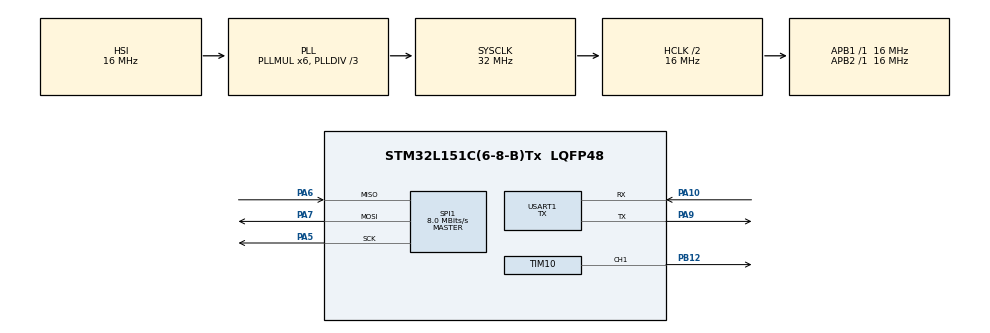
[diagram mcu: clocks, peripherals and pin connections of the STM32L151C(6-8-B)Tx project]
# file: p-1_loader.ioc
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FATFS._FS_LOCK=0
FATFS._FS_READONLY=1
FATFS._USE_BUFF_WO_ALIGNMENT=2
FATFS._USE_ERASE=0
FATFS._USE_FASTSEEK=0
FATFS._USE_MKFS=0
FATFS._USE_STRFUNC=0
Mcu.Family=STM32L1
Mcu.Name=STM32L151C(6-8-B)Tx
Mcu.Package=LQFP48
NVIC.PriorityGroup=NVIC_PRIORITYGROUP_4
PA10.Mode=Asynchronous
PA10.Signal=USART1_RX
PA5.Mode=Full_Duplex_Master
PA5.Signal=SPI1_SCK
PA6.Mode=Full_Duplex_Master
PA6.Signal=SPI1_MISO
PA7.Mode=Full_Duplex_Master
PA7.Signal=SPI1_MOSI
PA9.Mode=Asynchronous
PA9.Signal=USART1_TX
PB12.Signal=S_TIM10_CH1
PH0-OSC_IN.Mode=HSE-External-Oscillator
PH0-OSC_IN.Signal=RCC_OSC_IN
PH1-OSC_OUT.Mode=HSE-External-Oscillator
PH1-OSC_OUT.Signal=RCC_OSC_OUT
ProjectManager.HeapSize=0xc00
ProjectManager.StackSize=0x400
ProjectManager.TargetToolchain=MDK-ARM V5
RCC.ADCEnable=false
RCC.AHBCLKDivider=RCC_SYSCLK_DIV2
RCC.AHBFreq_Value=16000000
RCC.APB1Freq_Value=16000000
RCC.APB1TimFreq_Value=16000000
RCC.APB2Freq_Value=16000000
RCC.APB2TimFreq_Value=16000000
RCC.EnableCSSLSE=false
RCC.EnableHSE=true
RCC.EnableHSELCDDevisor=false
RCC.EnableHSERTCDevisor=false
RCC.EnableLSE=false
RCC.EnableLSERTC=false
RCC.EnbaleCSS=false
RCC.HCLKFreq_Value=16000000
RCC.HSEState=RCC_HSE_ON
RCC.HSE_VALUE=8000000
RCC.HSIState=RCC_HSI_ON
RCC.HSI_VALUE=16000000
RCC.IWDGEnable=false
RCC.LCDEnable=false
RCC.LSE_VALUE=32768
RCC.LSIState=RCC_LSI_OFF
RCC.MCOEnable=false
RCC.MSI_VALUE=2097000
RCC.OscillatorTypeHSE=RCC_OSCILLATORTYPE_HSE
RCC.OscillatorTypeHSI=RCC_OSCILLATORTYPE_HSI
RCC.OscillatorTypeMSI=RCC_OSCILLATORTYPE_MSI
RCC.PLLDIV=RCC_PLL_DIV3
RCC.PLLMUL=RCC_PLL_MUL12
RCC.PLLSource=RCC_PLLSOURCE_HSE
RCC.PLLSourceVirtual=RCC_PLLSOURCE_HSE
RCC.PLLState=RCC_PLL_ON
RCC.RTCEnable=false
RCC.SYSCLKFreq_VALUE=32000000
RCC.SYSCLKSource=RCC_SYSCLKSOURCE_PLLCLK
RCC.USBEnable=false
RCC.USBOutput=48000000
RCC.VCOOutputFreq_Value=96000000
SH.S_TIM10_CH1.0=TIM10_CH1,PWM Generation1 CH1
SPI1.CRCPolynomial=10
SPI1.CalculateBaudRate=8.0 MBits/s
SPI1.Direction=SPI_DIRECTION_2LINES
SPI1.Mode=SPI_MODE_MASTER
SPI1.VirtualType=VM_MASTER
TIM10.Channel=TIM_CHANNEL_1
USART1.HwFlowCtl-Asynchronous=UART_HWCONTROL_NONE
USART1.Mode=MODE_TX
USART1.VirtualMode=VM_ASYNC
VP_FATFS_VS_Generic.Mode=User_defined
board=p-1_loader

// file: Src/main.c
/**
  ******************************************************************************
  * File Name          : main.c
  * Description        : Main program body
  ******************************************************************************
  *
  * Copyright (c) 2017 STMicroelectronics International N.V.
  * All rights reserved.
  *
  * Redistribution and use in source and binary forms, with or without
  * modification, are permitted, provided that the following conditions are met:
  *
  * 1. Redistribution of source code must retain the above copyright notice,
  *    this list of conditions and the following disclaimer.
  * 2. Redistributions in binary form must reproduce the above copyright notice,
  *    this list of conditions and the following disclaimer in the documentation
  *    and/or other materials provided with the distribution.
  * 3. Neither the name of STMicroelectronics nor the names of other
  *    contributors to this software may be used to endorse or promote products
  *    derived from this software without specific written permission.
  * 4. This software, including modifications and/or derivative works of this
  *    software, must execute solely and exclusively on microcontroller or
  *    microprocessor devices manufactured by or for STMicroelectronics.
  * 5. Redistribution and use of this software other than as permitted under
  *    this license is void and will automatically terminate your rights under
  *    this license.
  *
  * THIS SOFTWARE IS PROVIDED BY STMICROELECTRONICS AND CONTRIBUTORS "AS IS"
  * AND ANY EXPRESS, IMPLIED OR STATUTORY WARRANTIES, INCLUDING, BUT NOT
  * LIMITED TO, THE IMPLIED WARRANTIES OF MERCHANTABILITY, FITNESS FOR A
  * PARTICULAR PURPOSE AND NON-INFRINGEMENT OF THIRD PARTY INTELLECTUAL PROPERTY
  * RIGHTS ARE DISCLAIMED TO THE FULLEST EXTENT PERMITTED BY LAW. IN NO EVENT
  * SHALL STMICROELECTRONICS OR CONTRIBUTORS BE LIABLE FOR ANY DIRECT, INDIRECT,
  * INCIDENTAL, SPECIAL, EXEMPLARY, OR CONSEQUENTIAL DAMAGES (INCLUDING, BUT NOT
  * LIMITED TO, PROCUREMENT OF SUBSTITUTE GOODS OR SERVICES; LOSS OF USE, DATA,
  * OR PROFITS; OR BUSINESS INTERRUPTION) HOWEVER CAUSED AND ON ANY THEORY OF
  * LIABILITY, WHETHER IN CONTRACT, STRICT LIABILITY, OR TORT (INCLUDING
  * NEGLIGENCE OR OTHERWISE) ARISING IN ANY WAY OUT OF THE USE OF THIS SOFTWARE,
  * EVEN IF ADVISED OF THE POSSIBILITY OF SUCH DAMAGE.
  *
  ******************************************************************************
  */
#include "main.h"
#include "stm32l1xx_hal.h"
#include "fatfs.h"

/* USER CODE BEGIN Includes */
#include "stm_eeprom.h"
#include "stm32l1xx_nucleo.h"
#ifdef defined(STM32L151xB)
#include "stm32_adafruit_sd.h"
#else
#include "v1000_sd.h"

#endif

/* USER CODE END Includes */

//SPI_HandleTypeDef hspi1;

TIM_HandleTypeDef htim10;

UART_HandleTypeDef huart1;

/* USER CODE BEGIN PV */
/* Private variables ---------------------------------------------------------*/
typedef  void (*pFunction)(void);

/* USER CODE END PV */

void SystemClock_Config(void);
void Error_Handler(void);
static void MX_GPIO_Init(void);
static void MX_USART1_UART_Init(void);
//static void MX_SPI1_Init(void);
static void MX_TIM10_Init(void);

void HAL_TIM_MspPostInit(TIM_HandleTypeDef *htim);

/* USER CODE BEGIN PFP */
/* Private function prototypes -----------------------------------------------*/
/* Private function prototypes
-----------------------------------------------*/
#ifdef __GNUC__
/* With GCC/RAISONANCE, small printf (option LD Linker->Libraries->Small printf
   set to 'Yes') calls __io_putchar() */
#define PUTCHAR_PROTOTYPE int __io_putchar(int ch)
#else
#define PUTCHAR_PROTOTYPE int fputc(int ch, FILE *f)
#endif /* __GNUC__ */

/**
  * @brief  Retargets the C library printf function to the USART.
  * @param  None
  * @retval None
  */
PUTCHAR_PROTOTYPE
{
  /* Place your implementation of fputc here */
  /* e.g. write a character to the EVAL_COM1 and Loop until the end of transmission */
  HAL_UART_Transmit(&huart1, (uint8_t *)&ch, 1, 0xFFFF);

  return ch;
}

/* USER CODE END PFP */

/* USER CODE BEGIN 0 */

uint8_t sound_toggle_simple(uint8_t cnt ,uint16_t sound_on_timer, uint16_t sound_off_timer)
{
   uint8_t i = 0;

   for(i = 0;i< cnt ; i++)
   {
       HAL_TIM_PWM_Start(&htim10, TIM_CHANNEL_1);
       HAL_Delay(sound_on_timer);
       HAL_TIM_PWM_Stop(&htim10, TIM_CHANNEL_1);
       HAL_Delay(sound_off_timer);
    }

		return 0;
}

void sd_power_mode(uint8_t mode)
{

	GPIO_InitTypeDef GPIO_InitStruct;

    if(mode == 1)
    {
        GPIO_InitStruct.Pin = SD_POWER_Pin;
        GPIO_InitStruct.Mode = GPIO_MODE_OUTPUT_PP;
        GPIO_InitStruct.Pull = GPIO_NOPULL;
        HAL_GPIO_Init(SD_POWER_GPIO_Port, &GPIO_InitStruct);
        HAL_GPIO_WritePin(SD_POWER_GPIO_Port, SD_POWER_Pin, GPIO_PIN_RESET);

    }
    else
    {
        /*Configure GPIO pin : GPS_POWER_Pin */
        GPIO_InitStruct.Pin = SD_POWER_Pin;
        GPIO_InitStruct.Mode = GPIO_MODE_INPUT;
        GPIO_InitStruct.Pull = GPIO_PULLUP;
        HAL_GPIO_Init(SD_POWER_GPIO_Port, &GPIO_InitStruct);
        //HAL_GPIO_WritePin(SD_POWER_GPIO_Port, SD_POWER_Pin, GPIO_PIN_SET);
    }
}

/* USER CODE END 0 */
uint8_t get_key(void)
{
    uint8_t count_time = 0;

    while((BSP_PB_GetState(BUTTON_USER) == GPIO_PIN_SET)&&(BSP_PB_GetState(BUTTON_WAKEUP) == GPIO_PIN_SET))
    {
       HAL_Delay(10);
       count_time++;
       if(count_time >= 200)
       {
           break;
       }
    }

    if(count_time >= 200)
        return  1;
    else
        return  0;

}

int main(void)
{

  /* USER CODE BEGIN 1 */
  pFunction JumpToApplication;
  uint32_t JumpAddress;

  /* USER CODE END 1 */

  /* MCU Configuration----------------------------------------------------------*/

  /* Reset of all peripherals, Initializes the Flash interface and the Systick. */
  HAL_Init();

  /* Configure the system clock */
  SystemClock_Config();

  /* Initialize all configured peripherals */
  MX_GPIO_Init();
  sd_power_mode(1);
  MX_FATFS_Init();
  MX_USART1_UART_Init();

#ifdef defined(STM32L151xB)
  MX_SPI1_Init();
#else defined(STM32L151xD)

#endif

  MX_TIM10_Init();

  /* USER CODE BEGIN 2 */
  BSP_LED_Init(LED_GPS);
  BSP_LED_Init(LED_SD);
  BSP_LED_Init(LED_SURPORT);

  /* Configure KEY Button */
  BSP_PB_Init(BUTTON_USER,BUTTON_MODE_GPIO);
  BSP_PB_Init(BUTTON_WAKEUP,BUTTON_MODE_GPIO);
  printf("bootloader :%s!! \r\n",__DATE__);
  printf(" clock = %d\r\n ", HAL_RCC_GetHCLKFreq());
  sound_toggle_simple(3, 50, 50);
  /* Check if the Key push-button is pressed */
  if (get_key() == 1)
  {
      printf("update frameware!! \r\n");
      if(0 == update_frameware())
      {
          stm_write_eerpom(0xf0,0x55555555);  /*update flag*/
          sound_toggle_simple(1,500,150);
      }
  }
  //else

  {
    /* Test if user code is programmed starting from address 0x08007000 */
    if (((*(__IO uint32_t*)USBD_DFU_APP_DEFAULT_ADD) & 0x2FFE0000 ) == 0x20000000)
    {
      /* Jump to user application */
      JumpAddress = *(__IO uint32_t*) (USBD_DFU_APP_DEFAULT_ADD + 4);
      JumpToApplication = (pFunction) JumpAddress;

      /* Initialize user application's Stack Pointer */
      __set_MSP(*(__IO uint32_t*) USBD_DFU_APP_DEFAULT_ADD);
      JumpToApplication();
    }
    else
    {
        printf("update frameware 1111!! \r\n");
        update_frameware();
        stm_write_eerpom(0xf0,0x55555555);  /*update flag*/
        sound_toggle_simple(1,500,150);
    }

  }

  /* USER CODE END 2 */

  /* Infinite loop */
  while (1)
  {

  }

}

/** System Clock Configuration
*/
void SystemClock_Config(void)
{

  RCC_OscInitTypeDef RCC_OscInitStruct;
  RCC_ClkInitTypeDef RCC_ClkInitStruct;

    /**Configure the main internal regulator output voltage
    */
  __HAL_PWR_VOLTAGESCALING_CONFIG(PWR_REGULATOR_VOLTAGE_SCALE1);

    /**Initializes the CPU, AHB and APB busses clocks
    */
  RCC_OscInitStruct.OscillatorType = RCC_OSCILLATORTYPE_HSI;
  RCC_OscInitStruct.HSEState = RCC_HSE_OFF;
  RCC_OscInitStruct.HSIState = RCC_HSI_ON;
  RCC_OscInitStruct.PLL.PLLState = RCC_PLL_ON;
  RCC_OscInitStruct.PLL.PLLSource = RCC_PLLSOURCE_HSI;
  RCC_OscInitStruct.PLL.PLLMUL = RCC_PLL_MUL6;
  RCC_OscInitStruct.PLL.PLLDIV = RCC_PLL_DIV3;
  if (HAL_RCC_OscConfig(&RCC_OscInitStruct) != HAL_OK)
  {
    Error_Handler();
  }

  /**Initializes the CPU, AHB and APB busses clocks
    */
  RCC_ClkInitStruct.ClockType = RCC_CLOCKTYPE_HCLK | RCC_CLOCKTYPE_SYSCLK | RCC_CLOCKTYPE_PCLK1 | RCC_CLOCKTYPE_PCLK2;
  RCC_ClkInitStruct.SYSCLKSource = RCC_SYSCLKSOURCE_PLLCLK;
  RCC_ClkInitStruct.AHBCLKDivider = RCC_SYSCLK_DIV2;
  RCC_ClkInitStruct.APB1CLKDivider = RCC_HCLK_DIV1;
  RCC_ClkInitStruct.APB2CLKDivider = RCC_HCLK_DIV1;

  if (HAL_RCC_ClockConfig(&RCC_ClkInitStruct, FLASH_LATENCY_0) != HAL_OK)
  {
    Error_Handler();
  }

    /**Configure the Systick interrupt time
    */
  HAL_SYSTICK_Config(HAL_RCC_GetHCLKFreq()/1000);

    /**Configure the Systick
    */
  HAL_SYSTICK_CLKSourceConfig(SYSTICK_CLKSOURCE_HCLK);

  /* SysTick_IRQn interrupt configuration */
  HAL_NVIC_SetPriority(SysTick_IRQn, 0, 0);
}

#if 0
/* SPI1 init function */
static void MX_SPI1_Init(void)
{

  hspi1.Instance = SPI1;
  hspi1.Init.Mode = SPI_MODE_MASTER;
  hspi1.Init.Direction = SPI_DIRECTION_2LINES;
  hspi1.Init.DataSize = SPI_DATASIZE_8BIT;
  hspi1.Init.CLKPolarity = SPI_POLARITY_LOW;
  hspi1.Init.CLKPhase = SPI_PHASE_1EDGE;
  hspi1.Init.NSS = SPI_NSS_SOFT;
  hspi1.Init.BaudRatePrescaler = SPI_BAUDRATEPRESCALER_2;
  hspi1.Init.FirstBit = SPI_FIRSTBIT_MSB;
  hspi1.Init.TIMode = SPI_TIMODE_DISABLE;
  hspi1.Init.CRCCalculation = SPI_CRCCALCULATION_DISABLE;
  hspi1.Init.CRCPolynomial = 10;
  if (HAL_SPI_Init(&hspi1) != HAL_OK)
  {
    Error_Handler();
  }

}
#endif
/* TIM10 init function */
static void MX_TIM10_Init(void)
{

  TIM_OC_InitTypeDef sConfigOC;

  htim10.Instance = TIM10;
  htim10.Init.Prescaler = 15;
  htim10.Init.CounterMode = TIM_COUNTERMODE_UP;
  htim10.Init.Period = 525;
  htim10.Init.ClockDivision = TIM_CLOCKDIVISION_DIV1;
  if (HAL_TIM_PWM_Init(&htim10) != HAL_OK)
  {
    Error_Handler();
  }

  sConfigOC.OCMode = TIM_OCMODE_PWM1;
  sConfigOC.Pulse = 263;
  sConfigOC.OCPolarity = TIM_OCPOLARITY_HIGH;
  sConfigOC.OCFastMode = TIM_OCFAST_DISABLE;
  if (HAL_TIM_PWM_ConfigChannel(&htim10, &sConfigOC, TIM_CHANNEL_1) != HAL_OK)
  {
    Error_Handler();
  }

  HAL_TIM_MspPostInit(&htim10);

}

/* USART1 init function */
static void MX_USART1_UART_Init(void)
{

  huart1.Instance = USART1;
  huart1.Init.BaudRate = 57600;
  huart1.Init.WordLength = UART_WORDLENGTH_8B;
  huart1.Init.StopBits = UART_STOPBITS_1;
  huart1.Init.Parity = UART_PARITY_NONE;
  huart1.Init.Mode = UART_MODE_TX;
  huart1.Init.HwFlowCtl = UART_HWCONTROL_NONE;
  huart1.Init.OverSampling = UART_OVERSAMPLING_16;
  if (HAL_UART_Init(&huart1) != HAL_OK)
  {
    Error_Handler();
  }

}

/** Configure pins as
        * Analog
        * Input
        * Output
        * EVENT_OUT
        * EXTI
*/
static void MX_GPIO_Init(void)
{

  /* GPIO Ports Clock Enable */
  __HAL_RCC_GPIOH_CLK_ENABLE();
  __HAL_RCC_GPIOA_CLK_ENABLE();
  __HAL_RCC_GPIOB_CLK_ENABLE();

}

void Error_Handler(void)
{
  while(1)
  {
  }
}

/************************ (C) COPYRIGHT STMicroelectronics *****END OF FILE****/
